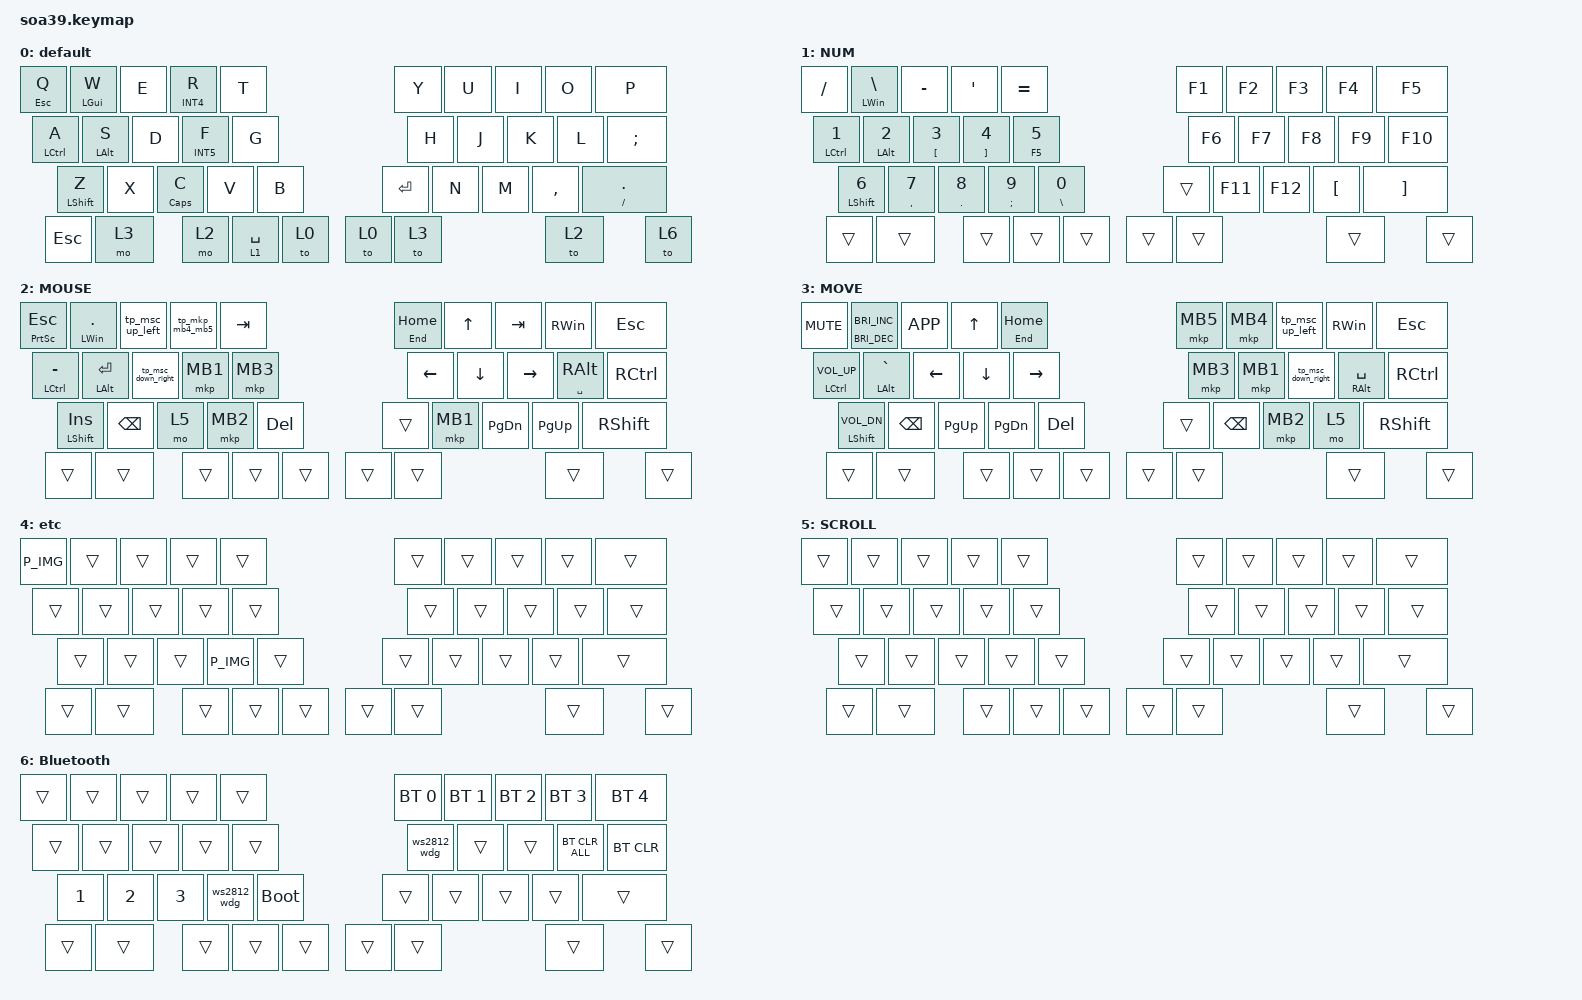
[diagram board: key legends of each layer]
#include <behaviors.dtsi>
#include <dt-bindings/zmk/bt.h>
#include <dt-bindings/zmk/keys.h>

// &msc は「速度(単位/秒)」で動く behavior で、既定値 10 は 1秒押して 10ノッチ。
// tap-dance 経由の単発タップは押下時間が実質0msなので、既定値のままだと
// 1ノッチも出ない。下の *_burst マクロで最低押下時間を作った上で、
// 40 = 長押し時 40ノッチ/秒。タップは 40 x 96ms ≒ 3ノッチ。
#define ZMK_POINTING_DEFAULT_SCRL_VAL 40
#include <dt-bindings/zmk/pointing.h>

&mt {
    flavor = "balanced";
    quick-tap-ms = <0>;
    bindings = <&sticky_mod>, <&kp>;
};

/ {
    behaviors {
        // Temporary WS2812 widget behavior definition until external module is recognized

        ws2812_wdg: ws2812_widget {
            compatible = "zmk,behavior-macro";
            #binding-cells = <0>;
            bindings = <&none>, <&macro_press>;

            // Placeholder - will be replaced by actual WS2812 implementation
        };

        // tap-dance は単発タップと判定した時、binding を「押して即座に離す」
        // (press と release が同一ハンドラ内・同一タイムスタンプ)。
        // &msc は押されている間 16ms ごとに速度x16/1000 を積むタイプなので、
        // 押下時間 0 = 1 tick も回らず、スクロール量が完全にゼロになる。
        //
        // 対策: press -> wait 96ms -> pause_for_release -> release の順で組む。
        //   単発タップ = 離すのが先に来るので pause は素通りし、&msc は 96ms
        //                押されたことになる (40単位/秒 x 96ms ≒ 3ノッチ)
        //   長押し     = pause_for_release が物理リリースまで待つので、&msc は
        //                押しっぱなし = 40ノッチ/秒で連続発火
        // wait-ms が press 後の待ち時間 = タップ1回あたりの最低スクロール量。
        msc_down_burst: msc_down_burst {
            compatible = "zmk,behavior-macro";
            label = "MSC_DOWN_BURST";
            #binding-cells = <0>;
            wait-ms = <96>;
            bindings
                = <&macro_press &msc SCRL_DOWN>
                , <&macro_pause_for_release>
                , <&macro_release &msc SCRL_DOWN>;
        };

        msc_up_burst: msc_up_burst {
            compatible = "zmk,behavior-macro";
            label = "MSC_UP_BURST";
            #binding-cells = <0>;
            wait-ms = <96>;
            bindings
                = <&macro_press &msc SCRL_UP>
                , <&macro_pause_for_release>
                , <&macro_release &msc SCRL_UP>;
        };

        msc_right_burst: msc_right_burst {
            compatible = "zmk,behavior-macro";
            label = "MSC_RIGHT_BURST";
            #binding-cells = <0>;
            wait-ms = <96>;
            bindings
                = <&macro_press &msc SCRL_RIGHT>
                , <&macro_pause_for_release>
                , <&macro_release &msc SCRL_RIGHT>;
        };

        msc_left_burst: msc_left_burst {
            compatible = "zmk,behavior-macro";
            label = "MSC_LEFT_BURST";
            #binding-cells = <0>;
            wait-ms = <96>;
            bindings
                = <&macro_press &msc SCRL_LEFT>
                , <&macro_pause_for_release>
                , <&macro_release &msc SCRL_LEFT>;
        };

        tp_msc_down_right: tp_msc_down_right {
            compatible = "zmk,behavior-tap-dance";
            label = "TP_MSC_DOWN_RIGHT";
            #binding-cells = <0>;
            bindings = <&msc_down_burst>, <&msc_right_burst>;

            // 300 -> 200: 単発タップはこの時間だけ待ってから発火するので、
            // 長いとスクロールの反応が鈍く感じる
            tapping-term-ms = <200>;
        };

        tp_msc_up_left: tp_msc_up_left {
            compatible = "zmk,behavior-tap-dance";
            label = "TP_MSC_UP_LEFT";
            #binding-cells = <0>;
            bindings = <&msc_up_burst>, <&msc_left_burst>;

            tapping-term-ms = <200>;
        };

        tp_mkp_mb4_mb5: tp_mkp_mb4_mb5 {
            compatible = "zmk,behavior-tap-dance";
            label = "TP_MKP_MB4_MB5";
            #binding-cells = <0>;
            bindings = <&mkp MB4>, <&mkp MB5>;

            tapping-term-ms = <300>;
        };

        mt_tap: mt_tap {
            compatible = "zmk,behavior-hold-tap";
            label = "MT_TAP";
            bindings = <&tap_key>, <&kp>;

            #binding-cells = <2>;
            tapping-term-ms = <200>;
            flavor = "balanced";
        };

        clear_mods: clear_mods {
            compatible = "zmk,behavior-macro";
            #binding-cells = <0>;
            wait-ms = <0>;
            tap-ms = <0>;
            bindings = <&macro_release
                &kp LCTRL &kp LSHIFT &kp LALT &kp LGUI
                &kp RCTRL &kp RSHIFT &kp RALT &kp RGUI>;
            label = "CLEAR_MODS";
        };

        /* 全mod解除 → 引数の言語キーを送出 */
        lang_clear: lang_clear {
            compatible = "zmk,behavior-macro-one-param";
            #binding-cells = <1>;
            wait-ms = <0>;
            tap-ms = <0>;
            bindings =
                <&clear_mods>,
                <&macro_param_1to1>,
                <&kp MACRO_PLACEHOLDER>;
            label = "LANG_CLEAR";
        };

        /* mt_tap と同挙動。hold時に lang_clear(全mod解除+言語キー) を実行 */
        mt_lang: mt_lang {
            compatible = "zmk,behavior-hold-tap";
            label = "MT_LANG";
            bindings = <&lang_clear>, <&kp>;

            #binding-cells = <2>;
            tapping-term-ms = <200>;
            flavor = "balanced";
        };
    };

    combos {
        compatible = "zmk,combos";

        resetR {
            bindings = <&to 0>;
            key-positions = <36 35>;
        };

        m1 {
            bindings = <&kp RA(RS(F11))>;
            key-positions = <13 3>;
        };

        m2 {
            bindings = <&kp RS(RA(F12))>;
            key-positions = <4 14>;
        };

        tab_alt {
            bindings = <&lm 2 LEFT_ALT>;
            key-positions = <32 4>;
            slow-release;
            timeout-ms = <300>;
        };
    };

    macros {
        P_IMG: P_IMG {
            compatible = "zmk,behavior-macro";
            #binding-cells = <0>;
            bindings =
                <&kp LEFT_ALT &kp N &kp P &kp O &kp D>,
                <&macro_wait_time 1000>,
                <&none &kp LC(V)>;

            label = "P_IMG";
        };

        // Sticky modifier with delayed release
        // Hold: modifier ON, Release: wait 400ms then modifier OFF
        // Usage: &sticky_mod LSHIFT (stackable with other modifiers)

        sticky_mod: sticky_mod {
            compatible = "zmk,behavior-macro-one-param";
            #binding-cells = <1>;
            wait-ms = <0>;
            tap-ms = <0>;
            bindings =
                <&macro_param_1to1>,
                <&macro_press>,
                <&kp MACRO_PLACEHOLDER>,
                <&macro_pause_for_release>,
                <&macro_wait_time 400>,
                <&none>,
                <&macro_wait_time 0>,
                <&macro_param_1to1>,
                <&macro_release>,
                <&kp MACRO_PLACEHOLDER>;

            label = "STICKY_MOD";
        };

        // Single tap key (fires press+release immediately on key down)
        // Usage: &tap_key A

        tap_key: tap_key {
            compatible = "zmk,behavior-macro-one-param";
            #binding-cells = <1>;
            wait-ms = <0>;
            tap-ms = <0>;
            bindings = <&macro_param_1to1 &kp MACRO_PLACEHOLDER>;
            label = "TAP_KEY";
        };

        lm: lm {
            compatible = "zmk,behavior-macro-two-param";
            wait-ms = <0>;
            tap-ms = <0>;
            #binding-cells = <2>;
            bindings =
                <&macro_param_1to1>,
                <&macro_press>,
                <&mo MACRO_PLACEHOLDER &macro_param_2to1>,
                <&macro_press>,
                <&kp MACRO_PLACEHOLDER>,
                <&macro_pause_for_release>,
                <&macro_param_2to1>,
                <&macro_release>,
                <&kp MACRO_PLACEHOLDER &macro_param_1to1>,
                <&macro_release>,
                <&mo MACRO_PLACEHOLDER>;
        };
    };

    keymap {
        compatible = "zmk,keymap";

        default {
            bindings = <
&mt_tap ESCAPE Q  &mt LGUI W      &kp E               &mt_lang INT4 R  &kp T  &kp Y      &kp U  &kp I  &kp O      &kp P
&mt LCTRL A       &mt LEFT_ALT S  &kp D               &mt_lang INT5 F  &kp G  &kp H      &kp J  &kp K  &kp L      &kp SEMICOLON
&mt LEFT_SHIFT Z  &kp X           &mt_tap CAPSLOCK C  &kp V           &kp B  &kp ENTER  &kp N  &kp M  &kp COMMA  &mt_tap SLASH PERIOD
&kp ESCAPE        &mo 3           &mo 2               &lt 1 SPACE     &to 0  &to 0      &to 3  &to 2  &to 6
            >;
        };

        NUM {
            bindings = <
&kp SLASH            &mt LWIN BACKSLASH  &kp MINUS                &kp SINGLE_QUOTE          &kp EQUAL             &kp F1  &kp F2   &kp F3   &kp F4            &kp F5
&mt LEFT_CONTROL N1  &mt LALT N2         &mt_tap LEFT_BRACKET N3  &mt_tap RIGHT_BRACKET N4  &mt_tap F5 N5         &kp F6  &kp F7   &kp F8   &kp F9            &kp F10
&mt LSHIFT N6        &mt_tap COMMA N7    &mt_tap DOT N8           &mt_tap SEMI N9           &mt_tap BACKSLASH N0  &trans  &kp F11  &kp F12  &kp LEFT_BRACKET  &kp RIGHT_BRACKET
&trans               &trans              &trans                   &trans                    &trans                &trans  &trans   &trans   &trans
            >;
        };

        MOUSE {
            bindings = <
&mt_tap PRINTSCREEN ESCAPE  &mt LWIN PERIOD  &tp_msc_up_left     &tp_mkp_mb4_mb5  &kp TAB   &mt_tap END HOME  &kp UP_ARROW  &kp TAB        &kp RWIN             &kp ESCAPE
&mt LCTRL MINUS             &mt LALT ENTER   &tp_msc_down_right  &mkp MB1         &mkp MB3  &kp LEFT_ARROW    &kp DOWN      &kp RIGHT      &mt SPACE RIGHT_ALT  &kp RIGHT_CONTROL
&mt LSHIFT INSERT           &kp BACKSPACE    &mo 5               &mkp MB2         &kp DEL   &trans            &mkp MB1      &kp PAGE_DOWN  &kp PAGE_UP          &kp RSHIFT
&trans                      &trans           &trans              &trans           &trans    &trans            &trans        &trans         &trans
            >;
        };

        MOVE {
            bindings = <
&kp C_MUTE                    &mt C_BRIGHTNESS_DEC C_BRIGHTNESS_INC  &kp K_APP    &kp UP_ARROW    &mt_tap END HOME  &mkp MB5  &mkp MB4       &tp_msc_up_left     &kp RWIN             &kp ESCAPE
&mt LEFT_CONTROL C_VOLUME_UP  &mt LALT GRAVE                         &kp LEFT     &kp DOWN_ARROW  &kp RIGHT         &mkp MB3  &mkp MB1       &tp_msc_down_right  &mt RIGHT_ALT SPACE  &kp RIGHT_CONTROL
&mt LSHIFT C_VOL_DN           &kp BACKSPACE                          &kp PAGE_UP  &kp PAGE_DOWN   &kp DELETE        &trans    &kp BACKSPACE  &mkp MB2            &mo 5                &kp RSHIFT
&trans                        &trans                                 &trans       &trans          &trans            &trans    &trans         &trans              &trans
            >;
        };

        etc {
            bindings = <
&P_IMG  &trans  &trans  &trans  &trans  &trans  &trans  &trans  &trans  &trans
&trans  &trans  &trans  &trans  &trans  &trans  &trans  &trans  &trans  &trans
&trans  &trans  &trans  &P_IMG  &trans  &trans  &trans  &trans  &trans  &trans
&trans  &trans  &trans  &trans  &trans  &trans  &trans  &trans  &trans
            >;
        };

        SCROLL {
            bindings = <
&trans  &trans  &trans  &trans  &trans  &trans  &trans  &trans  &trans  &trans
&trans  &trans  &trans  &trans  &trans  &trans  &trans  &trans  &trans  &trans
&trans  &trans  &trans  &trans  &trans  &trans  &trans  &trans  &trans  &trans
&trans  &trans  &trans  &trans  &trans  &trans  &trans  &trans  &trans
            >;
        };

        Bluetooth {
            bindings = <
&trans        &trans        &trans        &trans       &trans       &bt BT_SEL 0  &bt BT_SEL 1  &bt BT_SEL 2  &bt BT_SEL 3    &bt BT_SEL 4
&trans        &trans        &trans        &trans       &trans       &ws2812_wdg   &trans        &trans        &bt BT_CLR_ALL  &bt BT_CLR
&kp NUMBER_1  &kp NUMBER_2  &kp NUMBER_3  &ws2812_wdg  &bootloader  &trans        &trans        &trans        &trans          &trans
&trans        &trans        &trans        &trans       &trans       &trans        &trans        &trans        &trans
            >;
        };
    };
};
